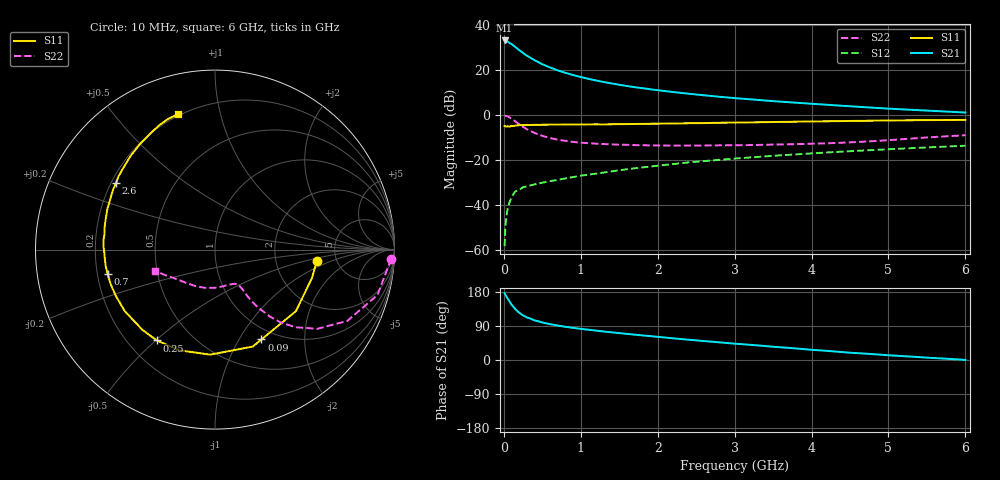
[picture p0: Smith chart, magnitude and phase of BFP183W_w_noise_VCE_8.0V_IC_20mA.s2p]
! (c) 2017  Infineon Technologies AG, Munich
! Infineon Technologies  Discrete & RF Semiconductors
! BFP183W
! VCE =  8.0 V,  IC =  20 mA
! Common Emitter S-Parameters:  Jan 2017
# GHz  S  MA  R  50
!  f  S11  S21  S12  S22
! GHz  MAG  ANG  MAG  ANG  MAG  ANG  MAG  ANG
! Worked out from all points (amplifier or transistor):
!   77 points, 10 MHz to 6 GHz, reference 50 ohm
!   highest |S21| = 33.3 dB at 10 MHz (marker M1)
!   |S21| within 3 dB of that: start of sweep to 152.7 MHz
!   unconditionally stable (mu >= 1): 1.22 GHz to 3.621 GHz
!   at 130 MHz: K = 0.23, MSG = 32.9 dB, |S12| = -34.9 dB
!   at 2.2 GHz: K = 1.06, MAG = 14.5 dB, |S12| = -21.8 dB
!   at 6 GHz: K = 0.86, MSG = 7.4 dB, |S12| = -13.6 dB
!   lowest NFmin = 1.17 dB at 450 MHz
!   S11 on the Smith chart (normalised r, x): 10 MHz: 3.51, -0.68; 90 MHz: 0.85, -1.25; 250 MHz: 0.32, -0.50; 700 MHz: 0.24, -0.11; 2.6 GHz: 0.22, +0.29; 6 GHz: 0.19, +0.75
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0.01  0.5705 -6.6  46.09 176.4  0.0012 90.5  0.9833 -3.0
0.02  0.5631 -16.3  45.2 172.1  0.0033 86.4  0.9667 -6.3
0.05  0.5664 -37.3  43.34 161.6  0.0082 77.0  0.94 -15.6
0.09  0.5636 -62.7  39.1 149.3  0.0135 66.0  0.854 -25.6
0.1  0.5798 -68.7  38.35 145.9  0.0149 64.5  0.8371 -28.4
0.15  0.5858 -92.6  32.91 133.9  0.02 55.4  0.7212 -37.7
0.2  0.5957 -109.6  28.06 124.7  0.0216 51.2  0.624 -43.9
0.25  0.6009 -122.6  24.2 117.6  0.0247 48.1  0.5457 -48.0
0.3  0.6029 -132.0  21.05 112.4  0.0257 45.8  0.4839 -50.6
0.4  0.6085 -145.6  16.65 104.5  0.0287 45.1  0.3989 -53.5
0.5  0.6097 -154.7  13.61 99.0  0.0311 46.0  0.3451 -54.7
0.6  0.6123 -161.4  11.53 94.6  0.0338 47.1  0.3087 -55.2
0.7  0.6134 -167.0  9.944 91.0  0.0359 48.4  0.2832 -55.3
0.9  0.6158 -175.6  7.795 84.8  0.0416 51.7  0.253 -55.9
1.1  0.622 178.1  6.426 79.9  0.047 53.8  0.2368 -56.5
1.5  0.6286 167.7  4.739 71.0  0.0589 56.7  0.219 -60.4
2.1  0.6463 155.1  3.425 59.2  0.0778 57.7  0.2101 -70.8
2.6  0.6642 146.2  2.765 50.0  0.0944 57.0  0.21 -82.6
3.1  0.6845 138.1  2.322 41.7  0.1106 55.1  0.2138 -95.0
4.1  0.7252 124.0  1.744 25.5  0.1435 50.4  0.2328 -121.0
5.1  0.7619 113.2  1.366 11.3  0.1767 44.9  0.2839 -146.7
6  0.7816 105.2  1.141 0.3  0.2079 39.0  0.3565 -160.8
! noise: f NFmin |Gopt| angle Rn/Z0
0.45  1.17  0.2  171  0.1
0.9  1.2  0.25  174  0.09
1.9  1.68  0.41  -163  0.08
2.4  1.92  0.45  -157  0.12
